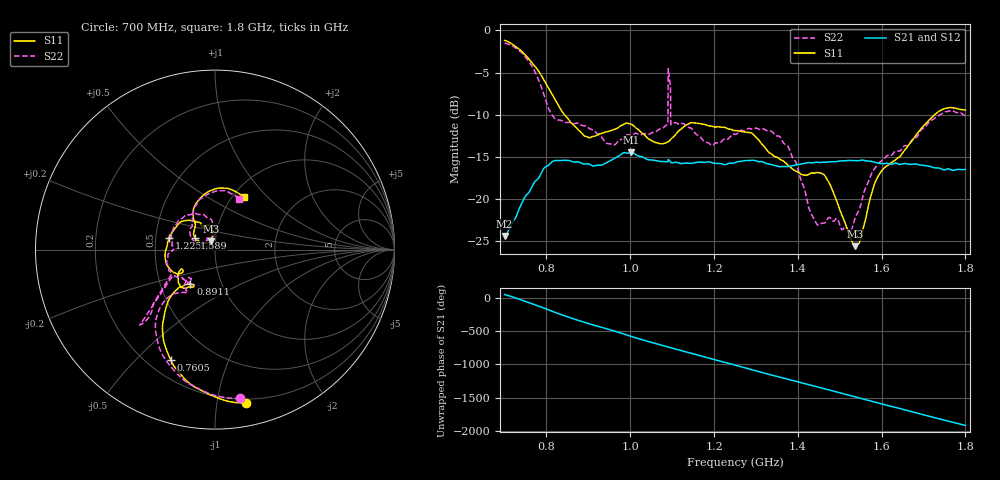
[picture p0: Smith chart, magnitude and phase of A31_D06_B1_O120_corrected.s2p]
! Created with skrf 1.9.0 (http://scikit-rf.org).
# Hz S RI R 50.0
!freq ReS11 ImS11 ReS21 ImS21 ReS12 ImS12 ReS22 ImS22
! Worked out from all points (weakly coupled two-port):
!   1601 points, 700 MHz to 1.8 GHz, reference 50 ohm
!   highest |S21| = -14.51 dB at 1.002 GHz (marker M1); lowest = -24.4 dB at 700 MHz (marker M2)
!   lowest |S11| = -25.7 dB at 1.536 GHz (marker M3), VSWR 1.11, Z = 47.4 + j4.39 ohm
!   |S11| at or under -10 dB: 842.3 MHz to 1.727 GHz (884.8 MHz wide, 68.9 % of centre)
!   |S22| runs from -24.0 to -1.5 dB; largest |S21 - S12| = 0.0035
!   S11 on the Smith chart (normalised r, x): 700 MHz: 0.17, -1.21; 760.5 MHz: 0.29, -0.64; 891.1 MHz: 0.71, -0.29; 1.225 GHz: 0.59, +0.08; 1.589 GHz: 0.79, +0.11; 1.8 GHz: 1.12, +0.75
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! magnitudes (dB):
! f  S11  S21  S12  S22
! 700 MHz  -1.2  -24.4  -24.2  -1.5
! 760.5 MHz  -3.6  -19.1  -18.9  -3.9
! 816.9 MHz  -7.9  -15.5  -15.6  -10.3
! 883.6 MHz  -12.2  -15.8  -15.7  -11.3
! 891.1 MHz  -12.6  -15.9  -15.9  -11.3
! 957.1 MHz  -11.9  -15.4  -15.4  -13.6
! 1.002 GHz  -11.2  -14.5  -14.6  -12.5
! 1.067 GHz  -13.4  -15.6  -15.5  -11.8
! 1.084 GHz  -13.4  -15.6  -15.6  -11.3
! 1.096 GHz  -13.0  -15.6  -15.7  -6.7
! 1.102 GHz  -12.7  -15.7  -15.7  -11.1
! 1.225 GHz  -11.5  -16.0  -15.9  -12.9
! 1.25 GHz  -11.9  -15.7  -15.7  -12.4
! 1.357 GHz  -15.3  -16.2  -16.1  -12.7
! 1.396 GHz  -16.7  -16.0  -16.0  -15.7
! 1.434 GHz  -17.0  -15.8  -15.7  -22.0
! 1.47 GHz  -17.7  -15.7  -15.6  -22.5
! 1.536 GHz  -25.7  -15.5  -15.5  -22.4
! 1.589 GHz  -17.6  -15.8  -15.7  -16.1
! 1.617 GHz  -16.0  -15.9  -15.8  -14.8
! 1.734 GHz  -9.7  -16.3  -16.4  -10.2
! 1.8 GHz  -9.5  -16.5  -16.5  -10.1
